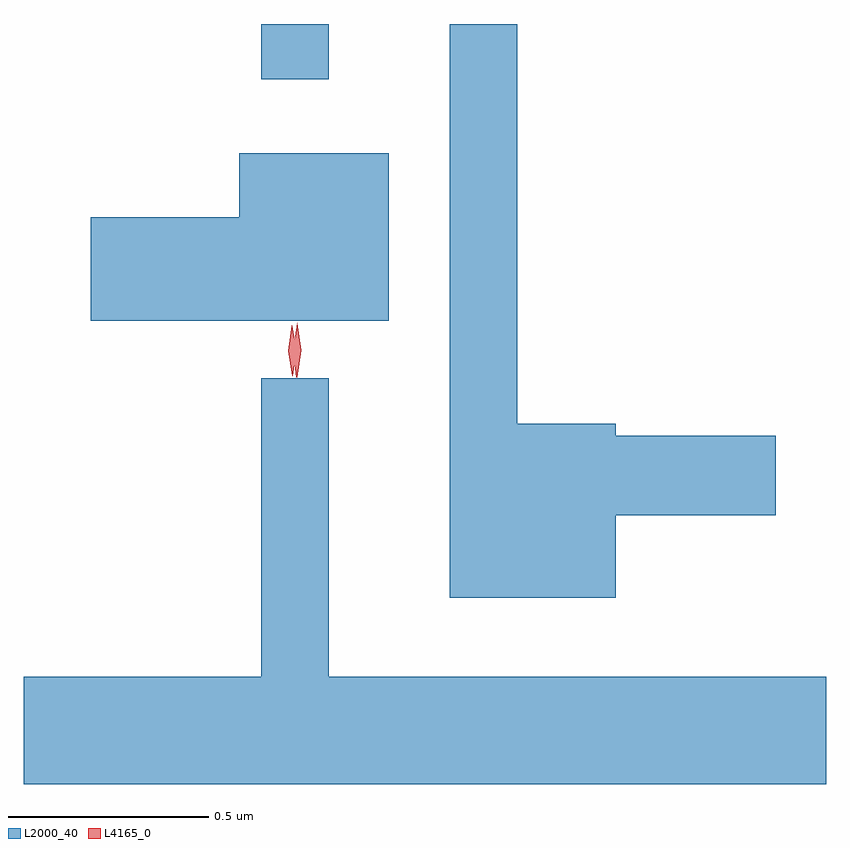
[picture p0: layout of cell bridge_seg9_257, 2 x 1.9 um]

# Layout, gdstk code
import gdstk
lib = gdstk.Library(unit=1e-6, precision=1e-09)
def R(c, l, rs):  # rectangles x0, y0, x1, y1
    for r in rs: c.add(gdstk.rectangle(r[:2], r[2:], *l))
def P(c, l, *ps):  # polygons
    for p in ps: c.add(gdstk.Polygon(p, *l))
L2000_40 = (2000, 40)
L4165_0 = (4165, 0)

bridge_seg9_257 = lib.new_cell('bridge_seg9_257')
R(bridge_seg9_257, L2000_40, [(1337.191,1951.393,1337.359,1951.531)])
P(bridge_seg9_257, L2000_40, [(1338.074,1950.306),(1338.474,1950.306),(1338.474,1950.504),(1338.074,1950.504),(1338.074,1950.534),(1337.829,1950.534),(1337.829,1951.531),(1337.661,1951.531),(1337.661,1950.101),(1338.074,1950.101)],
  [(1337.509,1951.209),(1337.136,1951.209),(1337.136,1951.049),(1336.766,1951.049),(1336.766,1950.791),(1337.509,1950.791)],
  [(1338.599,1949.904),(1337.359,1949.904),(1337.359,1950.648),(1337.191,1950.648),(1337.191,1949.904),(1336.599,1949.904),(1336.599,1949.636),(1338.599,1949.636)])
P(bridge_seg9_257, L4165_0, [(1337.278,1950.65),(1337.27,1950.718),(1337.28,1950.785),(1337.28,1950.786),(1337.281,1950.785),(1337.29,1950.718),(1337.28,1950.65),(1337.279,1950.65)],
  [(1337.269,1950.653),(1337.268,1950.654),(1337.258,1950.716),(1337.267,1950.779),(1337.267,1950.78),(1337.268,1950.779),(1337.278,1950.716),(1337.269,1950.654)])

lib.write_gds('bridge_seg9_257.gds')
